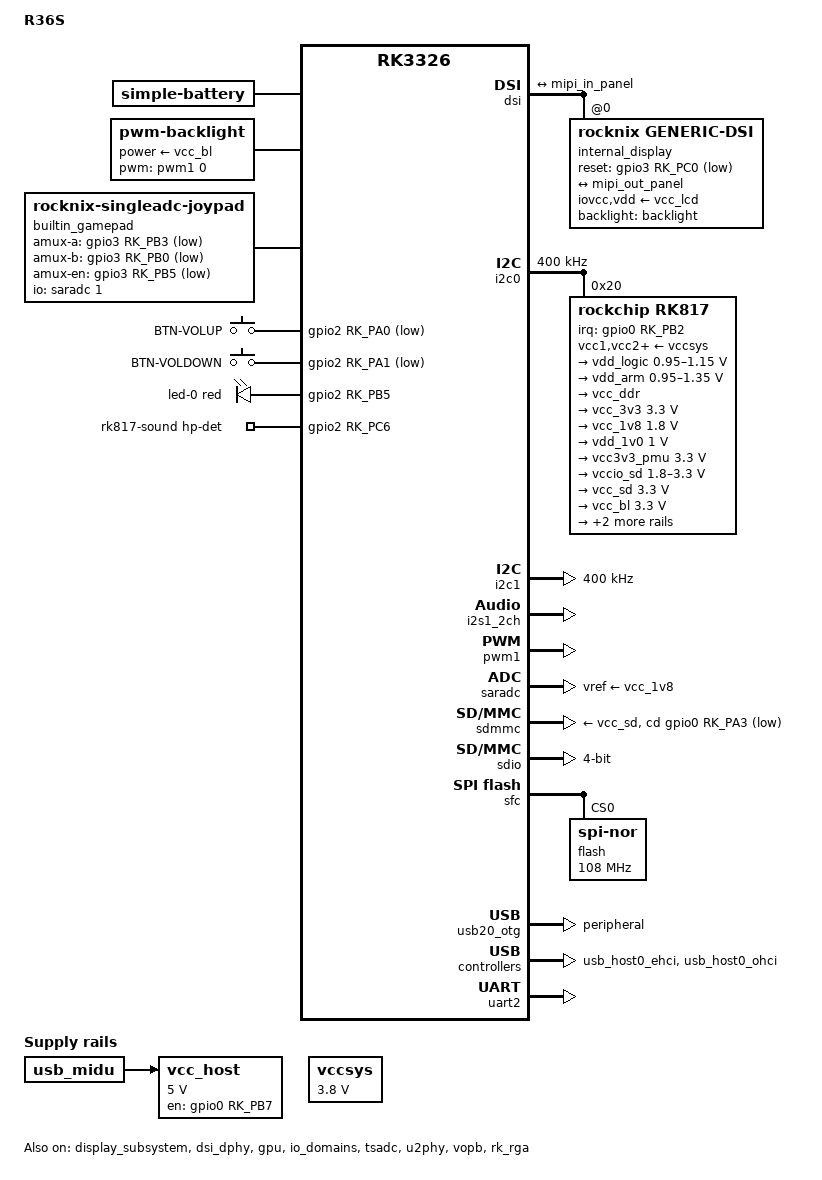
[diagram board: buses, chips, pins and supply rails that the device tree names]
// SPDX-License-Identifier: (GPL-2.0+ OR MIT)
/*
 * Copyright (c) 2024 Andre Renaud <andre@ignavus.net>
 * R36S device tree for mainline Linux kernel.
 * Uses ROCKNIX generic-dsi panel driver with NV3051D init sequence (ArkOS Panel 4).
 */

/dts-v1/;
#include <dt-bindings/gpio/gpio.h>
#include <dt-bindings/input/input.h>
#include <dt-bindings/leds/common.h>
#include <dt-bindings/pinctrl/rockchip.h>
#include "rk3326.dtsi"

/ {
	model = "R36S";
	compatible = "gamecon,r36s", "rockchip,rk3326";

	aliases {
		mmc0 = &sdmmc;
	};

	chosen {
		stdout-path = "serial2:1500000n8";
	};

	battery: battery {
		compatible = "simple-battery";
		charge-full-design-microamp-hours = <3000000>;
		charge-term-current-microamp = <300000>;
		constant-charge-current-max-microamp = <2000000>;
		constant-charge-voltage-max-microvolt = <4200000>;
		factory-internal-resistance-micro-ohms = <180000>;
		voltage-max-design-microvolt = <4100000>;
		voltage-min-design-microvolt = <3500000>;

		ocv-capacity-celsius = <20>;
		ocv-capacity-table-0 =  <4046950 100>, <4001920 95>, <3967900 90>, <3919950 85>,
					<3888450 80>, <3861850 75>, <3831540 70>, <3799130 65>,
					<3768190 60>, <3745650 55>, <3726610 50>, <3711630 45>,
					<3696720 40>, <3685660 35>, <3674950 30>, <3663050 25>,
					<3649470 20>, <3635260 15>, <3616920 10>, <3592440 5>,
					<3574170 0>;
	};

	backlight: backlight {
		compatible = "pwm-backlight";
		power-supply = <&vcc_bl>;
		pwms = <&pwm1 0 25000 0>;
	};

	builtin_gamepad: joypad {
		compatible = "rocknix-singleadc-joypad";
		pinctrl-names = "default";
		pinctrl-0 = <&btn_pins &mux_en_pins>;

		/* Device identity — RetroArch autoconfig matches on name + vendor/product */
		joypad-name = "r36s_Gamepad";
		joypad-vendor = <1>;
		joypad-product = <4488>;
		joypad-revision = <1>;

		/* ADC config */
		io-channel-names = "amux_adc";
		io-channels = <&saradc 1>;
		amux-count = <4>;
		amux-a-gpios = <&gpio3 RK_PB3 GPIO_ACTIVE_LOW>;
		amux-b-gpios = <&gpio3 RK_PB0 GPIO_ACTIVE_LOW>;
		amux-en-gpios = <&gpio3 RK_PB5 GPIO_ACTIVE_LOW>;

		/* ADC tuning */
		button-adc-scale = <2>;
		button-adc-deadzone = <64>;
		button-adc-fuzz = <32>;
		button-adc-flat = <32>;

		/* Per-axis tuning (percentage, 180 = 1.8x) */
		abs_x-p-tuning = <180>;
		abs_x-n-tuning = <180>;
		abs_y-p-tuning = <180>;
		abs_y-n-tuning = <180>;
		abs_rx-p-tuning = <180>;
		abs_rx-n-tuning = <180>;
		abs_ry-p-tuning = <180>;
		abs_ry-n-tuning = <180>;

		invert-absx;
		invert-absy;

		poll-interval = <16>;

		button-dpad-up {
			gpios = <&gpio1 RK_PB4 GPIO_ACTIVE_LOW>;
			label = "DPAD-UP";
			linux,code = <BTN_DPAD_UP>;
		};

		button-dpad-down {
			gpios = <&gpio1 RK_PB5 GPIO_ACTIVE_LOW>;
			label = "DPAD-DOWN";
			linux,code = <BTN_DPAD_DOWN>;
		};

		button-dpad-left {
			gpios = <&gpio1 RK_PB6 GPIO_ACTIVE_LOW>;
			label = "DPAD-LEFT";
			linux,code = <BTN_DPAD_LEFT>;
		};

		button-dpad-right {
			gpios = <&gpio1 RK_PB7 GPIO_ACTIVE_LOW>;
			label = "DPAD-RIGHT";
			linux,code = <BTN_DPAD_RIGHT>;
		};

		button-a {
			gpios = <&gpio1 RK_PA2 GPIO_ACTIVE_LOW>;
			label = "BTN-A";
			linux,code = <BTN_EAST>;
		};

		button-b {
			gpios = <&gpio1 RK_PA5 GPIO_ACTIVE_LOW>;
			label = "BTN-B";
			linux,code = <BTN_SOUTH>;
		};

		button-y {
			gpios = <&gpio1 RK_PA6 GPIO_ACTIVE_LOW>;
			label = "BTN-Y";
			linux,code = <BTN_WEST>;
		};

		button-x {
			gpios = <&gpio1 RK_PA7 GPIO_ACTIVE_LOW>;
			label = "BTN-X";
			linux,code = <BTN_NORTH>;
		};

		button-select {
			gpios = <&gpio3 RK_PB1 GPIO_ACTIVE_LOW>;
			label = "SELECT";
			linux,code = <BTN_SELECT>;
		};

		button-start {
			gpios = <&gpio3 RK_PB4 GPIO_ACTIVE_LOW>;
			label = "START";
			linux,code = <BTN_START>;
		};

		button-thumbl {
			gpios = <&gpio2 RK_PA2 GPIO_ACTIVE_LOW>;
			label = "THUMBL";
			linux,code = <BTN_THUMBL>;
		};

		button-thumbr {
			gpios = <&gpio2 RK_PA3 GPIO_ACTIVE_LOW>;
			label = "THUMBR";
			linux,code = <BTN_THUMBR>;
		};

		button-fn {
			gpios = <&gpio2 RK_PA4 GPIO_ACTIVE_LOW>;
			label = "FN";
			linux,code = <BTN_MODE>;
		};

		button-l1 {
			gpios = <&gpio2 RK_PA6 GPIO_ACTIVE_LOW>;
			label = "L1";
			linux,code = <BTN_TL>;
		};

		button-r1 {
			gpios = <&gpio2 RK_PA7 GPIO_ACTIVE_LOW>;
			label = "R1";
			linux,code = <BTN_TR>;
		};

		button-l2 {
			gpios = <&gpio3 RK_PB2 GPIO_ACTIVE_LOW>;
			label = "L2";
			linux,code = <BTN_TL2>;
		};

		button-r2 {
			gpios = <&gpio3 RK_PB7 GPIO_ACTIVE_LOW>;
			label = "R2";
			linux,code = <BTN_TR2>;
		};
	};

	volume_keys: gpio-keys-vol {
		compatible = "gpio-keys";
		pinctrl-names = "default";
		pinctrl-0 = <&vol_btn_pins>;

		button-volumeup {
			gpios = <&gpio2 RK_PA0 GPIO_ACTIVE_LOW>;
			label = "BTN-VOLUP";
			linux,code = <KEY_VOLUMEUP>;
		};

		button-volumedown {
			gpios = <&gpio2 RK_PA1 GPIO_ACTIVE_LOW>;
			label = "BTN-VOLDOWN";
			linux,code = <KEY_VOLUMEDOWN>;
		};
	};

	gpio_led: gpio-leds {
		compatible = "gpio-leds";
		pinctrl-names = "default";
		pinctrl-0 = <&led_pin>;

		led-0 {
			color = <LED_COLOR_ID_RED>;
			gpios = <&gpio2 RK_PB5 GPIO_ACTIVE_HIGH>;
			function = LED_FUNCTION_CHARGING;
		};
	};

	rk817-sound {
		compatible = "simple-audio-card";
		simple-audio-card,name = "rk817_int";
		simple-audio-card,format = "i2s";
		simple-audio-card,hp-det-gpio = <&gpio2 RK_PC6 GPIO_ACTIVE_HIGH>;
		simple-audio-card,mclk-fs = <256>;
		simple-audio-card,widgets =
			"Microphone", "Mic Jack",
			"Headphone", "Headphones",
			"Speaker", "Speaker";
		simple-audio-card,routing =
			"MICL", "Mic Jack",
			"Headphones", "HPOL",
			"Headphones", "HPOR",
			"Speaker", "SPKO";

		simple-audio-card,codec {
			sound-dai = <&rk817>;
		};

		simple-audio-card,cpu {
			sound-dai = <&i2s1_2ch>;
		};
	};

	vccsys: vccsys {
		compatible = "regulator-fixed";
		regulator-name = "vcc3v8_sys";
		regulator-always-on;
		regulator-min-microvolt = <3800000>;
		regulator-max-microvolt = <3800000>;
	};

	vcc_host: vcc_host {
		compatible = "regulator-fixed";
		regulator-name = "vcc_host";
		regulator-min-microvolt = <5000000>;
		regulator-max-microvolt = <5000000>;

		gpio = <&gpio0 RK_PB7 GPIO_ACTIVE_HIGH>;
		enable-active-high;
		regulator-always-on;
		regulator-boot-on;
		vin-supply = <&usb_midu>;
	};
};

&cpu0 {
	cpu-supply = <&vdd_arm>;
};

&cpu1 {
	cpu-supply = <&vdd_arm>;
};

&cpu2 {
	cpu-supply = <&vdd_arm>;
};

&cpu3 {
	cpu-supply = <&vdd_arm>;
};

&cru {
	assigned-clocks = <&cru PLL_NPLL>,
		<&cru ACLK_BUS_PRE>, <&cru ACLK_PERI_PRE>,
		<&cru HCLK_BUS_PRE>, <&cru HCLK_PERI_PRE>,
		<&cru PCLK_BUS_PRE>, <&cru SCLK_GPU>;

	assigned-clock-rates = <1188000000>,
		<200000000>, <200000000>,
		<150000000>, <150000000>,
		<100000000>, <200000000>;
};

&display_subsystem {
	status = "okay";
};

&dsi {
	status = "okay";

	ports {
		mipi_out: port@1 {
			reg = <1>;

			mipi_out_panel: endpoint {
				remote-endpoint = <&mipi_in_panel>;
			};
		};
	};

	internal_display: panel@0 {
		compatible = "rocknix,generic-dsi";
		iovcc-supply = <&vcc_lcd>;
		vdd-supply = <&vcc_lcd>;

		reg = <0>;
		backlight = <&backlight>;
		reset-gpios = <&gpio3 RK_PC0 GPIO_ACTIVE_LOW>;

		/* NV3051D panel - init sequence from ArkOS Panel 4 (60Hz) DTB */
		panel_description =
			"G size=52,70 delays=20,20,20,150,20 format=rgb888 lanes=4 flags=0xa03",

			"M clock=29000 horizontal=640,46,2,44 vertical=480,165,2,14 default=1",

			"I seq=ff30",
			"I seq=ff52",
			"I seq=ff01",
			"I seq=e300",
			"I seq=2510",
			"I seq=286f",
			"I seq=2901",
			"I seq=2adf",
			"I seq=2c22",
			"I seq=c30f",
			"I seq=379c",
			"I seq=38a7",
			"I seq=3941",
			"I seq=8020",
			"I seq=9167",
			"I seq=9267",
			"I seq=a055",
			"I seq=a150",
			"I seq=a358",
			"I seq=a49c",
			"I seq=a702",
			"I seq=a801",
			"I seq=a921",
			"I seq=aafc",
			"I seq=ab28",
			"I seq=ac06",
			"I seq=ad06",
			"I seq=ae06",
			"I seq=af03",
			"I seq=b008",
			"I seq=b126",
			"I seq=b228",
			"I seq=b328",
			"I seq=b403",
			"I seq=b508",
			"I seq=b626",
			"I seq=b708",
			"I seq=b826",
			"I seq=2c22",
			"I seq=5c40",
			"I seq=c000",
			"I seq=c100",
			"I seq=c200",
			"I seq=ff30",
			"I seq=ff52",
			"I seq=ff02",
			"I seq=b002",
			"I seq=d002",
			"I seq=b10f",
			"I seq=d110",
			"I seq=b211",
			"I seq=d212",
			"I seq=b332",
			"I seq=d333",
			"I seq=b436",
			"I seq=d436",
			"I seq=b53c",
			"I seq=d53c",
			"I seq=b620",
			"I seq=d620",
			"I seq=b73e",
			"I seq=d73e",
			"I seq=b80e",
			"I seq=d80d",
			"I seq=b905",
			"I seq=d905",
			"I seq=ba11",
			"I seq=da12",
			"I seq=bb11",
			"I seq=db11",
			"I seq=bc13",
			"I seq=dc14",
			"I seq=bd14",
			"I seq=dd14",
			"I seq=be16",
			"I seq=de18",
			"I seq=bf0e",
			"I seq=df0f",
			"I seq=c017",
			"I seq=e017",
			"I seq=c107",
			"I seq=e108",
			"I seq=ff30",
			"I seq=ff52",
			"I seq=ff03",
			"I seq=088a",
			"I seq=098b",
			"I seq=3000",
			"I seq=3100",
			"I seq=3200",
			"I seq=3300",
			"I seq=3461",
			"I seq=35d4",
			"I seq=3624",
			"I seq=3703",
			"I seq=4086",
			"I seq=4187",
			"I seq=4284",
			"I seq=4385",
			"I seq=4411",
			"I seq=45de",
			"I seq=46dd",
			"I seq=4711",
			"I seq=48e0",
			"I seq=49df",
			"I seq=5082",
			"I seq=5183",
			"I seq=5280",
			"I seq=5381",
			"I seq=5411",
			"I seq=55e2",
			"I seq=56e1",
			"I seq=5711",
			"I seq=58e4",
			"I seq=59e3",
			"I seq=820f",
			"I seq=830f",
			"I seq=8400",
			"I seq=850f",
			"I seq=860f",
			"I seq=870e",
			"I seq=880e",
			"I seq=8906",
			"I seq=8a06",
			"I seq=8b07",
			"I seq=8c07",
			"I seq=8d04",
			"I seq=8e04",
			"I seq=8f05",
			"I seq=9005",
			"I seq=980f",
			"I seq=990f",
			"I seq=9a00",
			"I seq=9b0f",
			"I seq=9c0f",
			"I seq=9d0e",
			"I seq=9e0e",
			"I seq=9f06",
			"I seq=a006",
			"I seq=a107",
			"I seq=a207",
			"I seq=a304",
			"I seq=a404",
			"I seq=a505",
			"I seq=a605",
			"I seq=e002",
			"I seq=e152",
			"I seq=ff30",
			"I seq=ff52",
			"I seq=ff00",
			"I seq=3602",
			"I seq=1100",
			"I seq=2900",
			"I seq=11 wait=200",
			"I seq=29 wait=20";

		port {
			mipi_in_panel: endpoint {
				remote-endpoint = <&mipi_out_panel>;
			};
		};
	};
};

&dsi_dphy {
	status = "okay";
};

&gpu {
	mali-supply = <&vdd_logic>;
	status = "okay";
};

/* Remove lower GPU OPPs — simple_ondemand can't scale up from 200MHz
   (busy_time tracking doesn't detect Panfrost load at low frequencies).
   480MHz is the only remaining OPP so the GPU starts and stays there. */
&gpu_opp_table {
	/delete-node/ opp-200000000;
	/delete-node/ opp-300000000;
	/delete-node/ opp-400000000;
};

&i2c0 {
	clock-frequency = <400000>;
	i2c-scl-falling-time-ns = <16>;
	i2c-scl-rising-time-ns = <280>;
	status = "okay";

	rk817: pmic@20 {
		compatible = "rockchip,rk817";
		reg = <0x20>;
		interrupt-parent = <&gpio0>;
		interrupts = <RK_PB2 IRQ_TYPE_LEVEL_LOW>;
		clock-output-names = "rk808-clkout1", "xin32k";
		clock-names = "mclk";
		clocks = <&cru SCLK_I2S1_OUT>;
		pinctrl-names = "default";
		pinctrl-0 = <&pmic_int>, <&i2s1_2ch_mclk>;
		wakeup-source;
		#clock-cells = <1>;
		#sound-dai-cells = <0>;

		vcc1-supply = <&vccsys>;
		vcc2-supply = <&vccsys>;
		vcc3-supply = <&vccsys>;
		vcc4-supply = <&vccsys>;
		vcc5-supply = <&vccsys>;
		vcc6-supply = <&vccsys>;
		vcc7-supply = <&vccsys>;
		vcc8-supply = <&vccsys>;

		regulators {
			vdd_logic: DCDC_REG1 {
				regulator-name = "vdd_logic";
				regulator-min-microvolt = <950000>;
				regulator-max-microvolt = <1150000>;
				regulator-ramp-delay = <6001>;
				regulator-always-on;
				regulator-boot-on;

				regulator-state-mem {
					regulator-on-in-suspend;
					regulator-suspend-microvolt = <950000>;
				};
			};

			vdd_arm: DCDC_REG2 {
				regulator-name = "vdd_arm";
				regulator-min-microvolt = <950000>;
				regulator-max-microvolt = <1350000>;
				regulator-ramp-delay = <6001>;
				regulator-always-on;
				regulator-boot-on;

				regulator-state-mem {
					regulator-off-in-suspend;
					regulator-suspend-microvolt = <950000>;
				};
			};

			vcc_ddr: DCDC_REG3 {
				regulator-name = "vcc_ddr";
				regulator-always-on;
				regulator-boot-on;

				regulator-state-mem {
					regulator-on-in-suspend;
				};
			};

			vcc_3v3: DCDC_REG4 {
				regulator-name = "vcc_3v3";
				regulator-min-microvolt = <3300000>;
				regulator-max-microvolt = <3300000>;
				regulator-always-on;
				regulator-boot-on;

				regulator-state-mem {
					regulator-off-in-suspend;
					regulator-suspend-microvolt = <3300000>;
				};
			};

			vcc_1v8: LDO_REG2 {
				regulator-name = "vcc_1v8";
				regulator-min-microvolt = <1800000>;
				regulator-max-microvolt = <1800000>;
				regulator-always-on;
				regulator-boot-on;

				regulator-state-mem {
					regulator-on-in-suspend;
					regulator-suspend-microvolt = <1800000>;
				};
			};

			vdd_1v0: LDO_REG3 {
				regulator-name = "vdd_1v0";
				regulator-min-microvolt = <1000000>;
				regulator-max-microvolt = <1000000>;
				regulator-always-on;
				regulator-boot-on;

				regulator-state-mem {
					regulator-on-in-suspend;
					regulator-suspend-microvolt = <1000000>;
				};
			};

			vcc3v3_pmu: LDO_REG4 {
				regulator-name = "vcc3v3_pmu";
				regulator-min-microvolt = <3300000>;
				regulator-max-microvolt = <3300000>;
				regulator-always-on;
				regulator-boot-on;

				regulator-state-mem {
					regulator-on-in-suspend;
					regulator-suspend-microvolt = <3300000>;
				};
			};

			vccio_sd: LDO_REG5 {
				regulator-name = "vccio_sd";
				regulator-min-microvolt = <1800000>;
				regulator-max-microvolt = <3300000>;
				regulator-always-on;
				regulator-boot-on;

				regulator-state-mem {
					regulator-on-in-suspend;
					regulator-suspend-microvolt = <3300000>;
				};
			};

			vcc_sd: LDO_REG6 {
				regulator-name = "vcc_sd";
				regulator-min-microvolt = <3300000>;
				regulator-max-microvolt = <3300000>;
				regulator-boot-on;

				regulator-state-mem {
					regulator-on-in-suspend;
					regulator-suspend-microvolt = <3300000>;
				};
			};

			vcc_bl: LDO_REG7 {
				regulator-name = "vcc_bl";
				regulator-min-microvolt = <3300000>;
				regulator-max-microvolt = <3300000>;

				regulator-state-mem {
					regulator-off-in-suspend;
					regulator-suspend-microvolt = <3300000>;
				};
			};

			vcc_lcd: LDO_REG8 {
				regulator-name = "vcc_lcd";
				regulator-min-microvolt = <2800000>;
				regulator-max-microvolt = <2800000>;

				regulator-state-mem {
					regulator-off-in-suspend;
					regulator-suspend-microvolt = <2800000>;
				};
			};

			LDO_REG9 {
				/* unused */
			};

			usb_midu: BOOST {
				regulator-name = "usb_midu";
				regulator-min-microvolt = <5000000>;
				regulator-max-microvolt = <5400000>;
				regulator-always-on;
				regulator-boot-on;
			};
		};

		rk817_charger: charger {
			rockchip,resistor-sense-micro-ohms = <10000>;
			rockchip,sleep-enter-current-microamp = <300000>;
			rockchip,sleep-filter-current-microamp = <100000>;
			monitored-battery = <&battery>;
		};

		rk817_codec: codec {
			rockchip,mic-in-differential;
		};
	};
};

&i2c1 {
	clock-frequency = <400000>;
	status = "okay";
};

&i2s1_2ch {
	status = "okay";
};

&io_domains {
	vccio1-supply = <&vcc_3v3>;
	vccio2-supply = <&vccio_sd>;
	vccio3-supply = <&vcc_3v3>;
	vccio4-supply = <&vcc_3v3>;
	vccio5-supply = <&vcc_3v3>;
	vccio6-supply = <&vcc_3v3>;
	status = "okay";
};

&pmu_io_domains {
	pmuio1-supply = <&vcc3v3_pmu>;
	pmuio2-supply = <&vcc3v3_pmu>;
	status = "okay";
};

&pwm1 {
	status = "okay";
};

&saradc {
	vref-supply = <&vcc_1v8>;
	status = "okay";
};

&sdmmc {
	cap-sd-highspeed;
	card-detect-delay = <200>;
	cd-gpios = <&gpio0 RK_PA3 GPIO_ACTIVE_LOW>;
	sd-uhs-sdr12;
	sd-uhs-sdr25;
	sd-uhs-sdr50;
	sd-uhs-sdr104;
	vmmc-supply = <&vcc_sd>;
	vqmmc-supply = <&vccio_sd>;
	status = "okay";
};

/* Second SD card slot (roms card) — R36H only, wired to SDIO controller */
&sdio {
	bus-width = <4>;
	cap-sd-highspeed;
	card-detect-delay = <200>;
	sd-uhs-sdr12;
	sd-uhs-sdr25;
	status = "okay";
};

&sfc {
	pinctrl-0 = <&sfc_clk &sfc_cs0 &sfc_bus2>;
	pinctrl-names = "default";
	#address-cells = <1>;
	#size-cells = <0>;
	status = "okay";

	flash@0 {
		compatible = "jedec,spi-nor";
		reg = <0>;
		spi-max-frequency = <108000000>;
		spi-rx-bus-width = <2>;
		spi-tx-bus-width = <1>;
	};
};

&tsadc {
	status = "okay";
};

&u2phy {
	status = "okay";

	u2phy_host: host-port {
		status = "okay";
	};

	u2phy_otg: otg-port {
		status = "okay";
	};
};

&usb20_otg {
	dr_mode = "peripheral";
	status = "okay";
};

&usb_host0_ehci {
	status = "okay";
};

&usb_host0_ohci {
	status = "okay";
};

&uart2 {
	pinctrl-names = "default";
	pinctrl-0 = <&uart2m1_xfer>;
	status = "okay";
};

&vopb {
	status = "okay";
};

&vopb_mmu {
	status = "okay";
};

/* RGA2 2D blitter — BSP driver (out-of-tree module) for hardware-accelerated
 * surface compositing. Address and clocks match BSP px30.dtsi rk_rga node.
 * Clock names use BSP convention (aclk_rga/hclk_rga/clk_rga) not mainline. */
/ {
	rk_rga: rga@ff480000 {
		compatible = "rockchip,rga2";
		reg = <0x0 0xff480000 0x0 0x1000>;
		interrupts = <GIC_SPI 76 IRQ_TYPE_LEVEL_HIGH>;
		clocks = <&cru ACLK_RGA>, <&cru HCLK_RGA>, <&cru SCLK_RGA_CORE>;
		clock-names = "aclk_rga", "hclk_rga", "clk_rga";
		power-domains = <&power PX30_PD_VO>;
		status = "okay";
	};
};

&pinctrl {
	btns {
		btn_pins: btn-pins {
			rockchip,pins = <1 RK_PA2 RK_FUNC_GPIO &pcfg_pull_up>,
					<1 RK_PA5 RK_FUNC_GPIO &pcfg_pull_up>,
					<1 RK_PA6 RK_FUNC_GPIO &pcfg_pull_up>,
					<1 RK_PA7 RK_FUNC_GPIO &pcfg_pull_up>,
					<1 RK_PB4 RK_FUNC_GPIO &pcfg_pull_up>,
					<1 RK_PB5 RK_FUNC_GPIO &pcfg_pull_up>,
					<1 RK_PB6 RK_FUNC_GPIO &pcfg_pull_up>,
					<1 RK_PB7 RK_FUNC_GPIO &pcfg_pull_up>,
					<2 RK_PA2 RK_FUNC_GPIO &pcfg_pull_up>,
					<2 RK_PA3 RK_FUNC_GPIO &pcfg_pull_up>,
					<2 RK_PA4 RK_FUNC_GPIO &pcfg_pull_up>,
					<2 RK_PA6 RK_FUNC_GPIO &pcfg_pull_up>,
					<2 RK_PA7 RK_FUNC_GPIO &pcfg_pull_up>,
					<3 RK_PB1 RK_FUNC_GPIO &pcfg_pull_up>,
					<3 RK_PB2 RK_FUNC_GPIO &pcfg_pull_up>,
					<3 RK_PB4 RK_FUNC_GPIO &pcfg_pull_up>,
					<3 RK_PB7 RK_FUNC_GPIO &pcfg_pull_up>;
		};

		vol_btn_pins: vol-btn-pins {
			rockchip,pins = <2 RK_PA0 RK_FUNC_GPIO &pcfg_pull_up>,
					<2 RK_PA1 RK_FUNC_GPIO &pcfg_pull_up>;
		};
	};

	headphone {
		hp_det: hp-det {
			rockchip,pins = <2 RK_PC6 RK_FUNC_GPIO &pcfg_pull_down>;
		};
	};

	leds {
		led_pin: led-pin {
			rockchip,pins = <2 RK_PB5 RK_FUNC_GPIO &pcfg_pull_none>;
		};
	};

	pmic {
		dc_det: dc-det {
			rockchip,pins = <0 RK_PB3 RK_FUNC_GPIO &pcfg_pull_none>;
		};

		pmic_int: pmic-int {
			rockchip,pins = <0 RK_PB2 RK_FUNC_GPIO &pcfg_pull_up>;
		};

		soc_slppin_gpio: soc_slppin_gpio {
			rockchip,pins = <0 RK_PA4 RK_FUNC_GPIO &pcfg_output_low>;
		};

		soc_slppin_rst: soc_slppin_rst {
			rockchip,pins = <0 RK_PA4 2 &pcfg_pull_none>;
		};

		soc_slppin_slp: soc_slppin_slp {
			rockchip,pins = <0 RK_PA4 1 &pcfg_pull_none>;
		};
	};

	joystick {
		mux_en_pins: mux-pins {
			rockchip,pins = <3 RK_PB5 RK_FUNC_GPIO &pcfg_output_low>;
		};
	};
};
